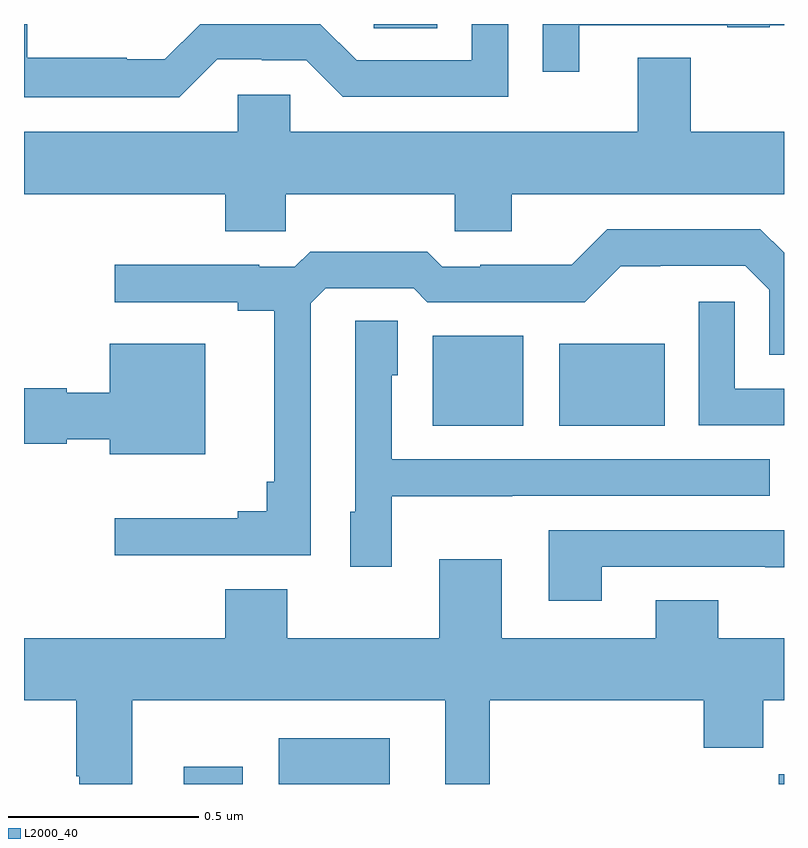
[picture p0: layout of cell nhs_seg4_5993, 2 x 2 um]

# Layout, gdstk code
import gdstk
lib = gdstk.Library(unit=1e-6, precision=1e-09)
def R(c, l, rs):  # rectangles x0, y0, x1, y1
    for r in rs: c.add(gdstk.rectangle(r[:2], r[2:], *l))
def P(c, l, *ps):  # polygons
    for p in ps: c.add(gdstk.Polygon(p, *l))
L2000_40 = (2000, 40)

nhs_seg4_5993 = lib.new_cell('nhs_seg4_5993')
R(nhs_seg4_5993, L2000_40, [(184.421,829.9,184.576,829.945), (184.67,829.9,184.963,830.02), (185.986,829.9,186,829.926), (185.075,830.843,185.314,831.079), (185.408,830.843,185.686,831.058), (184.92,831.889,185.088,831.9)])
P(nhs_seg4_5993, L2000_40, [(184.509,831.807),(184.625,831.807),(184.625,831.804),(184.743,831.804),(184.839,831.708),(185.274,831.708),(185.274,831.9),(185.178,831.9),(185.178,831.804),(184.875,831.804),(184.779,831.9),(184.464,831.9),(184.371,831.807),(184.271,831.807),(184.271,831.811),(184.008,831.811),(184.008,831.9),(184,831.9),(184,831.707),(184.409,831.707)],
  [(185.461,831.897),(185.851,831.897),(185.851,831.892),(185.963,831.892),(185.963,831.897),(186,831.897),(186,831.9),(185.365,831.9),(185.365,831.774),(185.461,831.774)],
  [(184.689,831.452),(185.134,831.452),(185.134,831.354),(185.284,831.354),(185.284,831.452),(186,831.452),(186,831.616),(185.755,831.616),(185.755,831.811),(185.615,831.811),(185.615,831.616),(184.701,831.616),(184.701,831.714),(184.563,831.714),(184.563,831.616),(184,831.616),(184,831.452),(184.529,831.452),(184.529,831.354),(184.689,831.354)],
  [(184.755,831.165),(184.794,831.204),(185.025,831.204),(185.061,831.168),(185.475,831.168),(185.57,831.263),(185.674,831.263),(185.674,831.264),(185.898,831.264),(185.961,831.201),(185.961,831.03),(186,831.03),(186,831.298),(185.938,831.36),(185.535,831.36),(185.441,831.266),(185.2,831.266),(185.2,831.261),(185.1,831.261),(185.061,831.301),(184.753,831.301),(184.713,831.261),(184.619,831.261),(184.619,831.266),(184.239,831.266),(184.239,831.168),(184.562,831.168),(184.562,831.146),(184.658,831.146),(184.658,830.695),(184.639,830.695),(184.639,830.618),(184.562,830.618),(184.562,830.599),(184.239,830.599),(184.239,830.502),(184.755,830.502)],
  [(186,830.94),(185.871,830.94),(185.871,831.169),(185.775,831.169),(185.775,830.844),(186,830.844)],
  [(184.968,830.657),(185.285,830.657),(185.285,830.658),(185.963,830.658),(185.963,830.754),(184.968,830.754),(184.968,830.976),(184.984,830.976),(184.984,831.119),(184.872,831.119),(184.872,830.616),(184.859,830.616),(184.859,830.472),(184.968,830.472)],
  [(184.477,831.058),(184.226,831.058),(184.226,830.929),(184.113,830.929),(184.113,830.942),(184,830.942),(184,830.795),(184.113,830.795),(184.113,830.807),(184.226,830.807),(184.226,830.768),(184.477,830.768)],
  [(185.521,830.472),(185.951,830.472),(185.951,830.471),(186,830.471),(186,830.568),(185.381,830.568),(185.381,830.382),(185.521,830.382)],
  [(184.285,830.12),(185.108,830.12),(185.108,829.9),(185.225,829.9),(185.225,830.12),(185.789,830.12),(185.789,829.996),(185.945,829.996),(185.945,830.12),(186,830.12),(186,830.284),(185.827,830.284),(185.827,830.383),(185.663,830.383),(185.663,830.284),(185.257,830.284),(185.257,830.491),(185.093,830.491),(185.093,830.284),(184.693,830.284),(184.693,830.413),(184.529,830.413),(184.529,830.284),(184,830.284),(184,830.12),(184.138,830.12),(184.138,829.921),(184.145,829.921),(184.145,829.9),(184.285,829.9)])

lib.write_gds('nhs_seg4_5993.gds')
